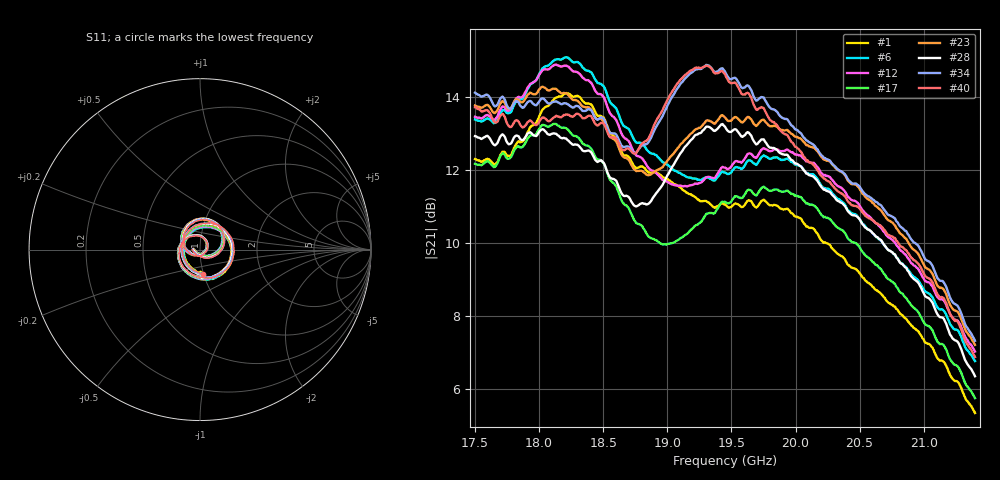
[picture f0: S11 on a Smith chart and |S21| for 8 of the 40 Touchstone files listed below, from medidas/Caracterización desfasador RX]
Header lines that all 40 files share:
!Created with skrf (http://scikit-rf.org).
# GHz S RI R 50.0
!freq ReS11 ImS11 ReS21 ImS21 ReS12 ImS12 ReS22 ImS22
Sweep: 17.5 GHz to 21.4 GHz
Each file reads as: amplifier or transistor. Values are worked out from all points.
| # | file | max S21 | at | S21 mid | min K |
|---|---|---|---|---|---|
| 1 | P3_pha_17.s2p | 14.1 dB | 18.21 GHz | 11.0 dB at 19.45 GHz | 44.29 |
| 2 | P3_pha_18.s2p | 13.8 dB | 18.21 GHz | 10.6 dB at 19.45 GHz | 43.30 |
| 3 | P3_pha_19.s2p | 15.4 dB | 18.21 GHz | 12.5 dB at 19.45 GHz | 34.09 |
| 4 | P3_pha_20.s2p | 14.9 dB | 18.21 GHz | 11.9 dB at 19.45 GHz | 35.98 |
| 5 | P3_pha_21.s2p | 14.4 dB | 18.21 GHz | 11.1 dB at 19.45 GHz | 47.95 |
| 6 | P3_pha_22.s2p | 15.1 dB | 18.21 GHz | 11.9 dB at 19.45 GHz | 39.36 |
| 7 | P3_pha_23.s2p | 14.9 dB | 18.2 GHz | 11.7 dB at 19.45 GHz | 24.44 |
| 8 | P3_pha_24.s2p | 14.5 dB | 18.21 GHz | 11.3 dB at 19.45 GHz | 43.47 |
| 9 | P3_pha_25.s2p | 15.6 dB | 18.21 GHz | 12.7 dB at 19.45 GHz | 33.35 |
| 10 | P3_pha_26.s2p | 15.5 dB | 18.2 GHz | 12.6 dB at 19.45 GHz | 35.97 |
| 11 | P3_pha_27.s2p | 15.1 dB | 18.12 GHz | 12.2 dB at 19.45 GHz | 36.13 |
| 12 | P3_pha_28.s2p | 14.9 dB | 18.13 GHz | 12.1 dB at 19.45 GHz | 38.53 |
| 13 | P3_pha_29.s2p | 15.3 dB | 18.12 GHz | 12.7 dB at 19.45 GHz | 34.23 |
| 14 | P3_pha_30.s2p | 14.6 dB | 18.12 GHz | 12.0 dB at 19.45 GHz | 34.64 |
| 15 | P3_pha_31.s2p | 13.7 dB | 18.12 GHz | 11.2 dB at 19.45 GHz | 47.80 |
| 16 | P3_pha_32.s2p | 13.1 dB | 18.12 GHz | 10.7 dB at 19.45 GHz | 41.51 |
| 17 | P3_pha_33.s2p | 13.3 dB | 18.12 GHz | 11.1 dB at 19.45 GHz | 47.28 |
| 18 | P3_pha_34.s2p | 13.6 dB | 18.11 GHz | 11.6 dB at 19.45 GHz | 46.21 |
| 19 | P3_pha_35.s2p | 14.7 dB | 18.11 GHz | 12.8 dB at 19.45 GHz | 35.85 |
| 20 | P3_pha_36.s2p | 13.9 dB | 18.03 GHz | 12.4 dB at 19.45 GHz | 37.22 |
| 21 | P3_pha_37.s2p | 13.7 dB | 18.03 GHz | 12.2 dB at 19.45 GHz | 41.17 |
| 22 | P3_pha_38.s2p | 14.0 dB | 18.03 GHz | 12.8 dB at 19.45 GHz | 33.29 |
| 23 | P3_pha_39.s2p | 14.3 dB | 18.03 GHz | 13.4 dB at 19.45 GHz | 33.60 |
| 24 | P3_pha_40.s2p | 13.8 dB | 18.03 GHz | 12.8 dB at 19.45 GHz | 35.80 |
| 25 | P3_pha_41.s2p | 14.0 dB | 18.03 GHz | 13.5 dB at 19.45 GHz | 33.46 |
| 26 | P3_pha_42.s2p | 14.1 dB | 18.03 GHz | 13.4 dB at 19.45 GHz | 40.00 |
| 27 | P3_pha_43.s2p | 13.9 dB | 18.03 GHz | 13.7 dB at 19.45 GHz | 33.27 |
| 28 | P3_pha_44.s2p | 13.2 dB | 19.43 GHz | 13.2 dB at 19.45 GHz | 37.76 |
| 29 | P3_pha_45.s2p | 13.9 dB | 19.43 GHz | 13.8 dB at 19.45 GHz | 39.49 |
| 30 | P3_pha_46.s2p | 13.9 dB | 19.31 GHz | 13.8 dB at 19.45 GHz | 30.84 |
| 31 | P3_pha_47.s2p | 14.5 dB | 19.3 GHz | 14.4 dB at 19.45 GHz | 27.88 |
| 32 | P3_pha_48.s2p | 13.7 dB | 19.3 GHz | 13.5 dB at 19.45 GHz | 42.38 |
| 33 | P3_pha_49.s2p | 14.4 dB | 19.31 GHz | 14.2 dB at 19.45 GHz | 32.93 |
| 34 | P3_pha_50.s2p | 14.9 dB | 19.3 GHz | 14.7 dB at 19.45 GHz | 37.39 |
| 35 | P3_pha_51.s2p | 14.1 dB | 19.3 GHz | 13.9 dB at 19.45 GHz | 37.46 |
| 36 | P3_pha_52.s2p | 14.1 dB | 19.3 GHz | 13.9 dB at 19.45 GHz | 37.98 |
| 37 | P3_pha_53.s2p | 15.1 dB | 19.3 GHz | 14.9 dB at 19.45 GHz | 30.66 |
| 38 | P3_pha_54.s2p | 14.6 dB | 19.31 GHz | 14.4 dB at 19.45 GHz | 36.39 |
| 39 | P3_pha_55.s2p | 14.4 dB | 19.3 GHz | 14.1 dB at 19.45 GHz | 41.45 |
| 40 | P3_pha_56.s2p | 14.8 dB | 19.3 GHz | 14.6 dB at 19.45 GHz | 38.52 |
